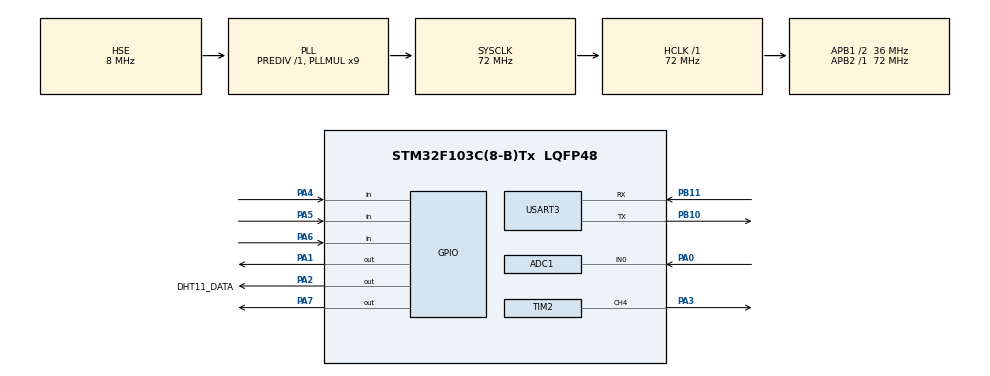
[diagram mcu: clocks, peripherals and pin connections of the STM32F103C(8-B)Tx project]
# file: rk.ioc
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ADC1.Channel-0\#ChannelRegularConversion=ADC_CHANNEL_0
ADC1.NbrOfConversionFlag=1
ADC1.Rank-0\#ChannelRegularConversion=1
ADC1.SamplingTime-0\#ChannelRegularConversion=ADC_SAMPLETIME_1CYCLE_5
ADC1.master=1
Mcu.Family=STM32F1
Mcu.Name=STM32F103C(8-B)Tx
Mcu.Package=LQFP48
NVIC.PriorityGroup=NVIC_PRIORITYGROUP_4
NVIC.USART3_IRQn=true\:0\:0\:false\:false\:true\:true\:true\:true
PA0-WKUP.Signal=ADCx_IN0
PA1.Signal=GPIO_Output
PA13.Mode=Serial_Wire
PA13.Signal=SYS_JTMS-SWDIO
PA14.Mode=Serial_Wire
PA14.Signal=SYS_JTCK-SWCLK
PA2.GPIO_Label=DHT11_DATA
PA2.GPIO_ModeDefaultOutputPP=GPIO_MODE_OUTPUT_OD
PA2.GPIO_PuPd=GPIO_PULLUP
PA2.GPIO_Speed=GPIO_SPEED_FREQ_HIGH
PA2.Signal=GPIO_Output
PA3.Signal=S_TIM2_CH4
PA4.Signal=GPIO_Input
PA5.Signal=GPIO_Input
PA6.Signal=GPIO_Input
PA7.Signal=GPIO_Output
PB10.Mode=Asynchronous
PB10.Signal=USART3_TX
PB11.Mode=Asynchronous
PB11.Signal=USART3_RX
PC14-OSC32_IN.Mode=LSE-External-Oscillator
PC14-OSC32_IN.Signal=RCC_OSC32_IN
PC15-OSC32_OUT.Mode=LSE-External-Oscillator
PC15-OSC32_OUT.Signal=RCC_OSC32_OUT
PD0-OSC_IN.Mode=HSE-External-Oscillator
PD0-OSC_IN.Signal=RCC_OSC_IN
PD1-OSC_OUT.Mode=HSE-External-Oscillator
PD1-OSC_OUT.Signal=RCC_OSC_OUT
ProjectManager.HeapSize=0x200
ProjectManager.StackSize=0x400
ProjectManager.TargetToolchain=MDK-ARM V5.32
RCC.AHBFreq_Value=72000000
RCC.APB1CLKDivider=RCC_HCLK_DIV2
RCC.APB1Freq_Value=36000000
RCC.APB1TimFreq_Value=72000000
RCC.APB2Freq_Value=72000000
RCC.APB2TimFreq_Value=72000000
RCC.HCLKFreq_Value=72000000
RCC.PLLMUL=RCC_PLL_MUL9
RCC.PLLSourceVirtual=RCC_PLLSOURCE_HSE
RCC.SYSCLKFreq_VALUE=72000000
RCC.SYSCLKSource=RCC_SYSCLKSOURCE_PLLCLK
RCC.USBFreq_Value=72000000
SH.ADCx_IN0.0=ADC1_IN0,IN0
SH.S_TIM2_CH4.0=TIM2_CH4,PWM Generation4 CH4
TIM2.Channel-PWM\ Generation4\ CH4=TIM_CHANNEL_4
TIM2.Period=65535
TIM2.Prescaler=999
TIM2.Pulse-PWM\ Generation4\ CH4=500
USART3.VirtualMode=VM_ASYNC
board=custom

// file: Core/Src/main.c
/* USER CODE BEGIN Header */
/**
  ******************************************************************************
  * @file           : main.c
  * @brief          : Main program body
  ******************************************************************************
  * @attention
  *
  * Copyright (c) 2026 STMicroelectronics.
  * All rights reserved.
  *
  * This software is licensed under terms that can be found in the LICENSE file
  * in the root directory of this software component.
  * If no LICENSE file comes with this software, it is provided AS-IS.
  *
  ******************************************************************************
  */
/* USER CODE END Header */
#include "main.h"
#include "adc.h"
#include "tim.h"
#include "usart.h"
#include "gpio.h"

/* USER CODE BEGIN Includes */
#include "mq_2.h"
#include "contact.h"
#include "dht11.h"
#include "fan.h"
#include "power.h"
#include "buttons.h"

/* USER CODE END Includes */

/* USER CODE BEGIN PD */
#define RK_BOOT_GRACE_MS 30000U
#define RK_OFFLINE_CONFIRM_PERIOD_MS 1000U
#define RK_OFFLINE_CONFIRM_LIMIT 3U
#define FIRE_TEST_BUTTON_PORT GPIOA
#define FIRE_TEST_BUTTON_PIN GPIO_PIN_4
#define FIRE_TEST_SMOKE_VALUE 120U
#define FIRE_TEST_GAS_VALUE 1600U
#define FIRE_TEST_TEMP_X10 700

/* USER CODE END PD */

/* USER CODE BEGIN PV */
uint16_t mq2_adc_value = 0U;
float mq2_voltage = 0.0f;//��ѹֵ
float mq2_smoke_value = 0.0f;//����
float mq2_gas_value = 0.0f;
uint32_t mq2_last_tick = 0;//�ϴεĶ�ȡʱ��
uint32_t dht11_last_tick = 0;
DHT11_Data dht11_data = {0};
DHT11_Status dht11_status = DHT11_ERROR_TIMEOUT;
uint16_t dht11_humidity_x10 = 0;
int16_t dht11_temperature_x10 = 0;
uint8_t rk_offline_safe_applied = 0U;
uint8_t rk_offline_confirm_count = 0U;
uint32_t rk_last_offline_check_tick = 0U;

/* USER CODE END PV */

void SystemClock_Config(void);

int main(void)
{

  /* MCU Configuration--------------------------------------------------------*/

  /* Reset of all peripherals, Initializes the Flash interface and the Systick. */
  HAL_Init();

  /* Configure the system clock */
  SystemClock_Config();

  /* Initialize all configured peripherals */
  MX_GPIO_Init();
  MX_ADC1_Init();
  MX_TIM2_Init();
  MX_USART3_UART_Init();
  /* USER CODE BEGIN 2 */
  MQ_2_Init();
  DHT11_Init();
  Power_Init();
  Fan_Init();
  Buttons_Init();
  Contact_Init(&huart3);

  /* USER CODE END 2 */

  /* Infinite loop */
  while (1)
  {

    /* USER CODE BEGIN 3 */
    Buttons_Task(HAL_GetTick());

    uint32_t now_ms = HAL_GetTick();
    uint8_t rk_online = Contact_IsRkOnline(now_ms);

    if ((uint32_t)(now_ms - 0U) < RK_BOOT_GRACE_MS)
    {
      rk_online = 1U;
    }

    if (rk_online)
    {
      rk_offline_confirm_count = 0U;
      rk_offline_safe_applied = 0U;
    }
    else if ((uint32_t)(now_ms - rk_last_offline_check_tick) >= RK_OFFLINE_CONFIRM_PERIOD_MS)
    {
      rk_last_offline_check_tick = now_ms;
      if (rk_offline_confirm_count < RK_OFFLINE_CONFIRM_LIMIT)
      {
        rk_offline_confirm_count++;
      }
      if (rk_offline_confirm_count >= RK_OFFLINE_CONFIRM_LIMIT && !rk_offline_safe_applied)
      {
        Power_Off();
        Fan_Off();
        rk_offline_safe_applied = 1U;
      }
    }

    if (HAL_GetTick() - dht11_last_tick >= 2000U)
    {
      dht11_last_tick = HAL_GetTick();
      dht11_status = DHT11_Read(&dht11_data);
      if (dht11_status == DHT11_OK)
      {
        dht11_humidity_x10 = dht11_data.humidity_x10;
        dht11_temperature_x10 = dht11_data.temperature_x10;
      }
    }
    if (HAL_GetTick() - mq2_last_tick >= 1000U)
    {
      mq2_last_tick = HAL_GetTick();
      mq2_adc_value = MQ_2_Get_ADC_Value();
      mq2_voltage = MQ_2_ADC_To_Voltage(mq2_adc_value);
      mq2_smoke_value = MQ_2_Voltage_To_Smoke_Value(mq2_voltage);
      mq2_gas_value = MQ_2_Voltage_To_Gas_Value(mq2_voltage);
      uint16_t report_smoke = (uint16_t)mq2_smoke_value;
      uint16_t report_gas = (uint16_t)mq2_gas_value;
      int16_t report_temp_x10 = dht11_temperature_x10;
      if (Buttons_FireTestActive(HAL_GetTick()))
      {
        report_smoke = FIRE_TEST_SMOKE_VALUE;
        report_gas = FIRE_TEST_GAS_VALUE;
        report_temp_x10 = FIRE_TEST_TEMP_X10;
      }
      Contact_SendSensorData(report_smoke,
                             report_gas,
                             report_temp_x10);
      Contact_SendActuatorState2(Power1_IsOn(), Power2_IsOn(), Fan_IsOn(), 0U);
    }
    Contact_Task(HAL_GetTick());
  }
  /* USER CODE END 3 */
}

void SystemClock_Config(void)
{
  RCC_OscInitTypeDef RCC_OscInitStruct = {0};
  RCC_ClkInitTypeDef RCC_ClkInitStruct = {0};
  RCC_PeriphCLKInitTypeDef PeriphClkInit = {0};

  /** Initializes the RCC Oscillators according to the specified parameters
  * in the RCC_OscInitTypeDef structure.
  */
  RCC_OscInitStruct.OscillatorType = RCC_OSCILLATORTYPE_HSE;
  RCC_OscInitStruct.HSEState = RCC_HSE_ON;
  RCC_OscInitStruct.HSEPredivValue = RCC_HSE_PREDIV_DIV1;
  RCC_OscInitStruct.HSIState = RCC_HSI_ON;
  RCC_OscInitStruct.PLL.PLLState = RCC_PLL_ON;
  RCC_OscInitStruct.PLL.PLLSource = RCC_PLLSOURCE_HSE;
  RCC_OscInitStruct.PLL.PLLMUL = RCC_PLL_MUL9;
  if (HAL_RCC_OscConfig(&RCC_OscInitStruct) != HAL_OK)
  {
    Error_Handler();
  }

  /** Initializes the CPU, AHB and APB buses clocks
  */
  RCC_ClkInitStruct.ClockType = RCC_CLOCKTYPE_HCLK|RCC_CLOCKTYPE_SYSCLK
                              |RCC_CLOCKTYPE_PCLK1|RCC_CLOCKTYPE_PCLK2;
  RCC_ClkInitStruct.SYSCLKSource = RCC_SYSCLKSOURCE_PLLCLK;
  RCC_ClkInitStruct.AHBCLKDivider = RCC_SYSCLK_DIV1;
  RCC_ClkInitStruct.APB1CLKDivider = RCC_HCLK_DIV2;
  RCC_ClkInitStruct.APB2CLKDivider = RCC_HCLK_DIV1;

  if (HAL_RCC_ClockConfig(&RCC_ClkInitStruct, FLASH_LATENCY_2) != HAL_OK)
  {
    Error_Handler();
  }
  PeriphClkInit.PeriphClockSelection = RCC_PERIPHCLK_ADC;
  PeriphClkInit.AdcClockSelection = RCC_ADCPCLK2_DIV2;
  if (HAL_RCCEx_PeriphCLKConfig(&PeriphClkInit) != HAL_OK)
  {
    Error_Handler();
  }
}

/* USER CODE BEGIN 4 */
void HAL_UART_RxCpltCallback(UART_HandleTypeDef *huart)
{
  Contact_UART_RxCpltCallback(huart);
}

/* USER CODE END 4 */

void Error_Handler(void)
{
  __disable_irq();
  while (1)
  {
  }
}
